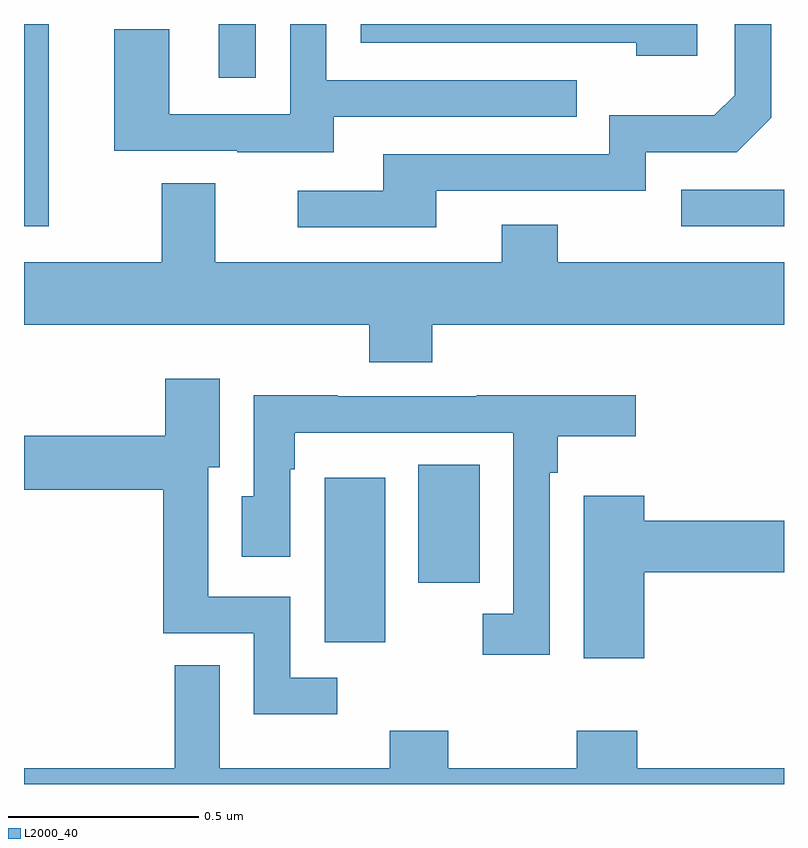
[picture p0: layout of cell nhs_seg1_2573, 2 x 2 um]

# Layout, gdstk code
import gdstk
lib = gdstk.Library(unit=1e-6, precision=1e-09)
def R(c, l, rs):  # rectangles x0, y0, x1, y1
    for r in rs: c.add(gdstk.rectangle(r[:2], r[2:], *l))
def P(c, l, *ps):  # polygons
    for p in ps: c.add(gdstk.Polygon(p, *l))
L2000_40 = (2000, 40)

nhs_seg1_2573 = lib.new_cell('nhs_seg1_2573')
R(nhs_seg1_2573, L2000_40, [(143.792,541.572,143.95,542.005), (144.038,541.728,144.199,542.039), (143,542.667,143.065,543.199), (144.729,542.667,145,542.763), (143.513,543.057,143.61,543.199)])
P(nhs_seg1_2573, L2000_40, [(144.085,542.76),(144.636,542.76),(144.636,542.862),(144.876,542.862),(144.966,542.952),(144.966,543.199),(144.87,543.199),(144.87,543.012),(144.817,542.959),(144.54,542.959),(144.54,542.856),(143.945,542.856),(143.945,542.76),(143.721,542.76),(143.721,542.664),(144.085,542.664)],
  [(143.815,542.955),(144.455,542.955),(144.455,543.051),(143.796,543.051),(143.796,543.199),(143.7,543.199),(143.7,542.961),(143.382,542.961),(143.382,543.185),(143.237,543.185),(143.237,542.865),(143.561,542.865),(143.561,542.861),(143.815,542.861)],
  [(144.772,543.199),(143.886,543.199),(143.886,543.15),(144.611,543.15),(144.611,543.116),(144.772,543.116)],
  [(144.074,542.408),(145,542.408),(145,542.572),(144.405,542.572),(144.405,542.671),(144.257,542.671),(144.257,542.572),(143.503,542.572),(143.503,542.78),(143.363,542.78),(143.363,542.572),(143,542.572),(143,542.408),(143.909,542.408),(143.909,542.309),(144.074,542.309)],
  [(143.824,541.479),(143.7,541.479),(143.7,541.692),(143.485,541.692),(143.485,542.033),(143.515,542.033),(143.515,542.266),(143.372,542.266),(143.372,542.115),(143,542.115),(143,541.973),(143.367,541.973),(143.367,541.596),(143.604,541.596),(143.604,541.382),(143.824,541.382)],
  [(144.384,542.018),(144.404,542.018),(144.404,542.114),(144.61,542.114),(144.61,542.222),(144.191,542.222),(144.191,542.22),(143.825,542.22),(143.825,542.222),(143.604,542.222),(143.604,541.956),(143.573,541.956),(143.573,541.797),(143.7,541.797),(143.7,542.027),(143.713,542.027),(143.713,542.124),(144.288,542.124),(144.288,541.647),(144.207,541.647),(144.207,541.539),(144.384,541.539)],
  [(144.632,541.756),(145,541.756),(145,541.892),(144.632,541.892),(144.632,541.957),(144.473,541.957),(144.473,541.53),(144.632,541.53)],
  [(145,541.24),(144.614,541.24),(144.614,541.339),(144.454,541.339),(144.454,541.24),(144.117,541.24),(144.117,541.339),(143.962,541.339),(143.962,541.24),(143.515,541.24),(143.515,541.511),(143.397,541.511),(143.397,541.24),(143,541.24),(143,541.199),(145,541.199)])

lib.write_gds('nhs_seg1_2573.gds')
